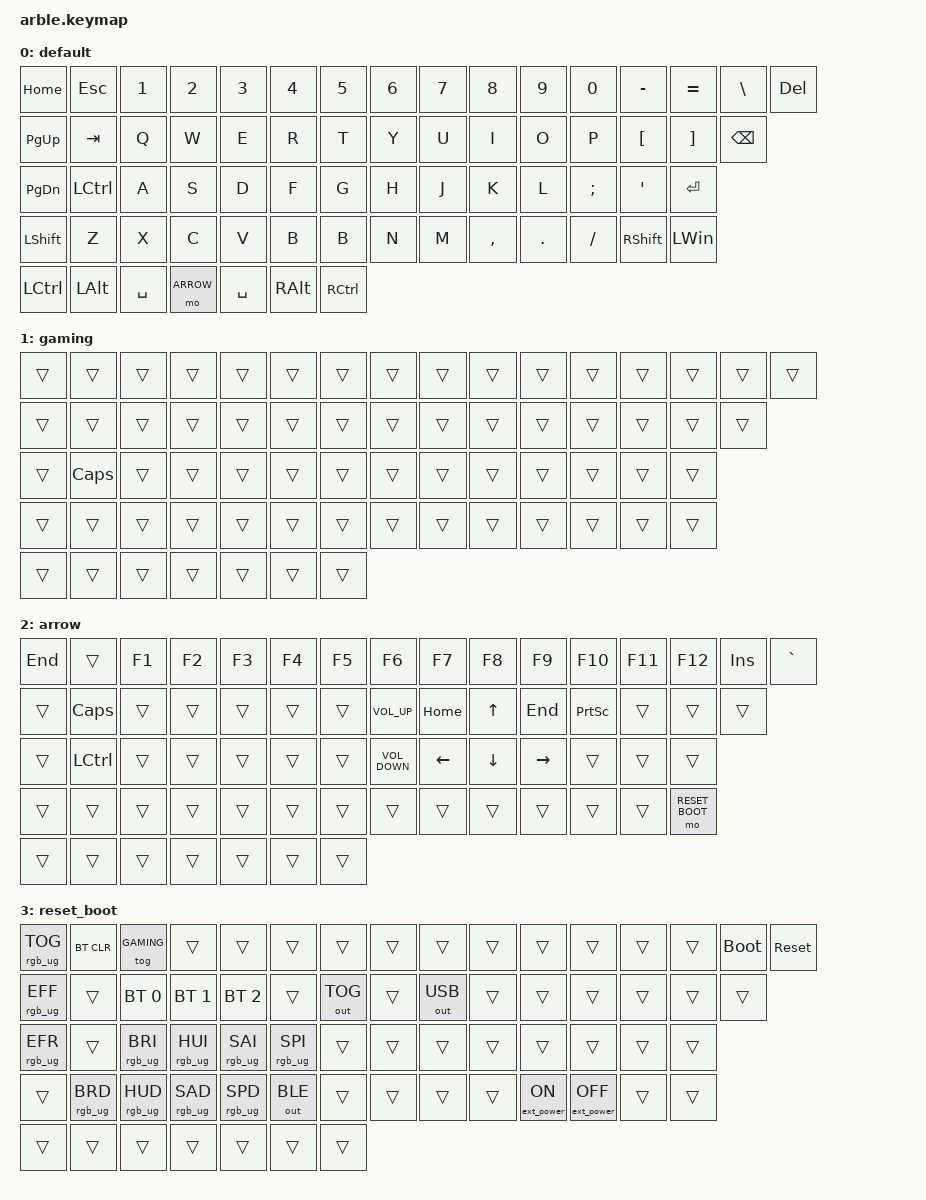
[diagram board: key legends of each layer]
/*
 * Copyright (c) 2021 Nick Winans
 *
 * SPDX-License-Identifier: MIT
 */

#include <behaviors.dtsi>
#include <dt-bindings/zmk/bt.h>
#include <dt-bindings/zmk/keys.h>
#include <dt-bindings/zmk/outputs.h>
#include <dt-bindings/zmk/rgb.h>
#include <dt-bindings/zmk/ext_power.h>

#define DEFAULT 0
#define GAMING 1
#define ARROW 2
#define RESET_BOOT 3

/ {
    ext-power {
        compatible = "zmk,ext-power-generic";
        label = "EXT_POWER";
        init-delay-ms = <50>;
        control-gpios = <&gpio0 13 GPIO_ACTIVE_HIGH>;
    };


    keymap {
        compatible = "zmk,keymap";

        default {
            bindings = <
                &kp HOME          &kp ESCAPE        &kp N1     &kp N2     &kp N3     &kp N4    &kp N5     &kp N6  &kp N7  &kp N8     &kp N9   &kp N0    &kp MINUS  &kp EQUAL  &kp BSLH  &kp DELETE
                &kp PAGE_UP       &kp TAB           &kp Q      &kp W      &kp E      &kp R     &kp T      &kp Y   &kp U   &kp I      &kp O    &kp P     &kp LBKT   &kp RBKT   &kp BSPC
                &kp PG_DN         &kp LEFT_CONTROL  &kp A      &kp S      &kp D      &kp F     &kp G      &kp H   &kp J   &kp K      &kp L    &kp SEMI  &kp SQT    &kp RET
                &kp LSHFT         &kp Z             &kp X      &kp C      &kp V      &kp B     &kp B      &kp N   &kp M   &kp COMMA  &kp DOT  &kp FSLH  &kp RSHFT  &kp LWIN
                &kp LEFT_CONTROL  &kp LALT          &kp SPACE  &mo ARROW  &kp SPACE  &kp RALT  &kp RCTRL
            >;
        };

        gaming {
            bindings = <
                &trans  &trans    &trans  &trans  &trans  &trans  &trans  &trans  &trans  &trans  &trans  &trans  &trans  &trans  &trans  &trans
                &trans  &trans    &trans  &trans  &trans  &trans  &trans  &trans  &trans  &trans  &trans  &trans  &trans  &trans  &trans
                &trans  &kp CAPS  &trans  &trans  &trans  &trans  &trans  &trans  &trans  &trans  &trans  &trans  &trans  &trans
                &trans  &trans    &trans  &trans  &trans  &trans  &trans  &trans  &trans  &trans  &trans  &trans  &trans  &trans
                &trans  &trans    &trans  &trans  &trans  &trans  &trans
            >;
        };

        arrow {
            bindings = <
                &kp END  &trans           &kp F1  &kp F2  &kp F3  &kp F4  &kp F5  &kp F6             &kp F7          &kp F8          &kp F9     &kp F10          &kp F11  &kp F12          &kp INS  &kp GRAVE
                &trans   &kp CAPS         &trans  &trans  &trans  &trans  &trans  &kp C_VOLUME_UP    &kp HOME        &kp UP_ARROW    &kp END    &kp PRINTSCREEN  &trans   &trans           &trans
                &trans   &kp LEFT_CONTROL &trans  &trans  &trans  &trans  &trans  &kp C_VOLUME_DOWN  &kp LEFT_ARROW  &kp DOWN_ARROW  &kp RIGHT  &trans           &trans   &trans
                &trans   &trans           &trans  &trans  &trans  &trans  &trans  &trans             &trans          &trans          &trans     &trans           &trans   &mo RESET_BOOT
                &trans   &trans           &trans  &trans  &trans  &trans  &trans
            >;
        };

        reset_boot {
            bindings = <
                &rgb_ug RGB_TOG     &bt BT_CLR          &tog GAMING         &trans              &trans              &trans              &trans        &trans  &trans        &trans  &trans              &trans              &trans  &trans  &bootloader  &sys_reset
                &rgb_ug RGB_EFF     &trans              &bt BT_SEL 0        &bt BT_SEL 1        &bt BT_SEL 2        &trans              &out OUT_TOG  &trans  &out OUT_USB  &trans  &trans              &trans              &trans  &trans  &trans
                &rgb_ug RGB_EFR     &trans              &rgb_ug RGB_BRI     &rgb_ug RGB_HUI     &rgb_ug RGB_SAI     &rgb_ug RGB_SPI     &trans        &trans  &trans        &trans  &trans              &trans              &trans  &trans
                &trans              &rgb_ug RGB_BRD     &rgb_ug RGB_HUD     &rgb_ug RGB_SAD     &rgb_ug RGB_SPD     &out OUT_BLE        &trans        &trans  &trans        &trans  &ext_power EP_ON    &ext_power EP_OFF   &trans  &trans
                &trans              &trans              &trans              &trans              &trans              &trans              &trans
            >;
        };
    };
};
